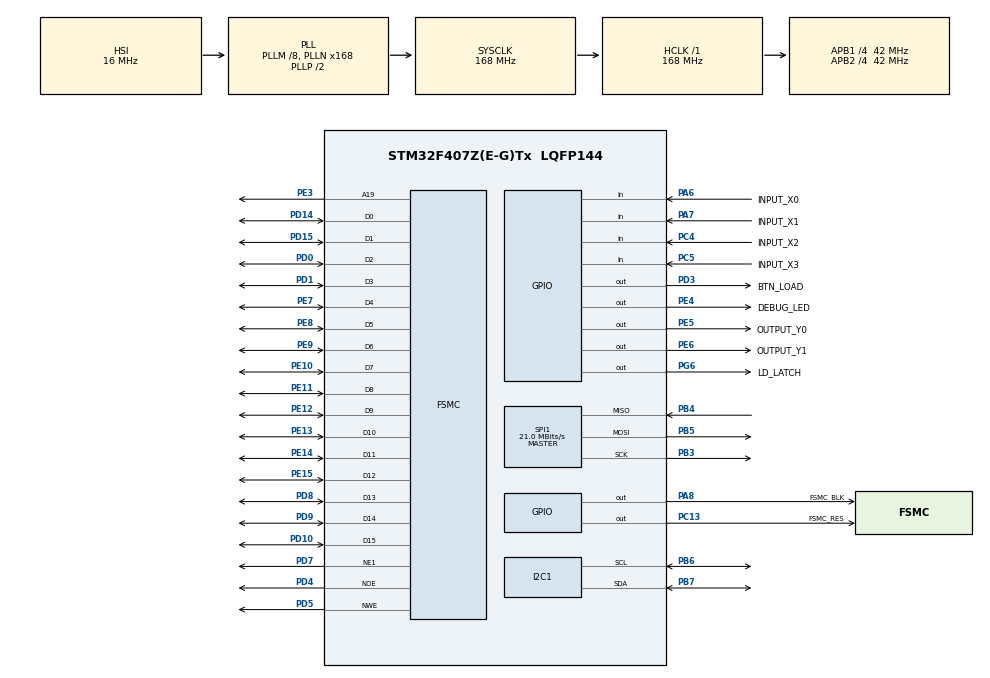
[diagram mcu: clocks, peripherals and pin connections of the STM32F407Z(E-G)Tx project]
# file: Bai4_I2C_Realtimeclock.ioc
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FSMC.AddressSetupTime1=0xf
FSMC.BusTurnAroundDuration1=0
FSMC.DataSetupTime1=60
FSMC.ExtendedAddressSetupTime1=8
FSMC.ExtendedBusTurnAroundDuration1=0
FSMC.ExtendedDataSetupTime1=9
FSMC.ExtendedMode1=FSMC_EXTENDED_MODE_ENABLE
I2C1.I2C_Mode=I2C_Standard
Mcu.Family=STM32F4
Mcu.Name=STM32F407Z(E-G)Tx
Mcu.Package=LQFP144
NVIC.PriorityGroup=NVIC_PRIORITYGROUP_4
NVIC.TIM2_IRQn=true\:0\:0\:false\:false\:true\:true\:true\:true
PA13.Mode=Serial_Wire
PA13.Signal=SYS_JTMS-SWDIO
PA14.Mode=Serial_Wire
PA14.Signal=SYS_JTCK-SWCLK
PA6.GPIO_Label=INPUT_X0
PA6.Signal=GPIO_Input
PA7.GPIO_Label=INPUT_X1
PA7.Signal=GPIO_Input
PA8.GPIO_Label=FSMC_BLK
PA8.Signal=GPIO_Output
PB3.Mode=Full_Duplex_Master
PB3.Signal=SPI1_SCK
PB4.Mode=Full_Duplex_Master
PB4.Signal=SPI1_MISO
PB5.Mode=Full_Duplex_Master
PB5.Signal=SPI1_MOSI
PB6.Mode=I2C
PB6.Signal=I2C1_SCL
PB7.Mode=I2C
PB7.Signal=I2C1_SDA
PC13-ANTI_TAMP.GPIO_Label=FSMC_RES
PC13-ANTI_TAMP.Signal=GPIO_Output
PC4.GPIO_Label=INPUT_X2
PC4.Signal=GPIO_Input
PC5.GPIO_Label=INPUT_X3
PC5.Signal=GPIO_Input
PD0.Signal=FSMC_D2_DA2
PD1.Signal=FSMC_D3_DA3
PD10.Signal=FSMC_D15_DA15
PD14.Signal=FSMC_D0_DA0
PD15.Signal=FSMC_D1_DA1
PD3.GPIO_Label=BTN_LOAD
PD3.Signal=GPIO_Output
PD4.Signal=FSMC_NOE
PD5.Signal=FSMC_NWE
PD7.Mode=NorPsramChipSelect1_1
PD7.Signal=FSMC_NE1
PD8.Signal=FSMC_D13_DA13
PD9.Signal=FSMC_D14_DA14
PE10.Signal=FSMC_D7_DA7
PE11.Signal=FSMC_D8_DA8
PE12.Signal=FSMC_D9_DA9
PE13.Signal=FSMC_D10_DA10
PE14.Signal=FSMC_D11_DA11
PE15.Signal=FSMC_D12_DA12
PE3.Signal=FSMC_A19
PE4.GPIO_Label=DEBUG_LED
PE4.Signal=GPIO_Output
PE5.GPIO_Label=OUTPUT_Y0
PE5.Signal=GPIO_Output
PE6.GPIO_Label=OUTPUT_Y1
PE6.Signal=GPIO_Output
PE7.Signal=FSMC_D4_DA4
PE8.Signal=FSMC_D5_DA5
PE9.Signal=FSMC_D6_DA6
PG6.GPIO_Label=LD_LATCH
PG6.Signal=GPIO_Output
PH0-OSC_IN.Mode=HSE-External-Oscillator
PH0-OSC_IN.Signal=RCC_OSC_IN
PH1-OSC_OUT.Mode=HSE-External-Oscillator
PH1-OSC_OUT.Signal=RCC_OSC_OUT
ProjectManager.HeapSize=0x200
ProjectManager.StackSize=0x400
ProjectManager.TargetToolchain=STM32CubeIDE
RCC.48MHZClocksFreq_Value=84000000
RCC.AHBFreq_Value=168000000
RCC.APB1CLKDivider=RCC_HCLK_DIV4
RCC.APB1Freq_Value=42000000
RCC.APB1TimFreq_Value=84000000
RCC.APB2CLKDivider=RCC_HCLK_DIV4
RCC.APB2Freq_Value=42000000
RCC.APB2TimFreq_Value=84000000
RCC.CortexFreq_Value=168000000
RCC.HCLKFreq_Value=168000000
RCC.HSE_VALUE=8000000
RCC.HSI_VALUE=16000000
RCC.LSE_VALUE=32768
RCC.PLLM=8
RCC.PLLN=168
RCC.SYSCLKFreq_VALUE=168000000
RCC.SYSCLKSource=RCC_SYSCLKSOURCE_PLLCLK
RCC.VCOOutputFreq_Value=336000000
SH.FSMC_A19.0=FSMC_A19,A19_1
SH.FSMC_D0_DA0.0=FSMC_D0,16b-d1
SH.FSMC_D10_DA10.0=FSMC_D10,16b-d1
SH.FSMC_D11_DA11.0=FSMC_D11,16b-d1
SH.FSMC_D12_DA12.0=FSMC_D12,16b-d1
SH.FSMC_D13_DA13.0=FSMC_D13,16b-d1
SH.FSMC_D14_DA14.0=FSMC_D14,16b-d1
SH.FSMC_D15_DA15.0=FSMC_D15,16b-d1
SH.FSMC_D1_DA1.0=FSMC_D1,16b-d1
SH.FSMC_D2_DA2.0=FSMC_D2,16b-d1
SH.FSMC_D3_DA3.0=FSMC_D3,16b-d1
SH.FSMC_D4_DA4.0=FSMC_D4,16b-d1
SH.FSMC_D5_DA5.0=FSMC_D5,16b-d1
SH.FSMC_D6_DA6.0=FSMC_D6,16b-d1
SH.FSMC_D7_DA7.0=FSMC_D7,16b-d1
SH.FSMC_D8_DA8.0=FSMC_D8,16b-d1
SH.FSMC_D9_DA9.0=FSMC_D9,16b-d1
SH.FSMC_NOE.0=FSMC_NOE,Lcd1
SH.FSMC_NWE.0=FSMC_NWE,Lcd1
SPI1.BaudRatePrescaler=SPI_BAUDRATEPRESCALER_2
SPI1.CalculateBaudRate=21.0 MBits/s
SPI1.Direction=SPI_DIRECTION_2LINES
SPI1.Mode=SPI_MODE_MASTER
SPI1.VirtualType=VM_MASTER
TIM2.Period=100-1
TIM2.Prescaler=840-1
VP_TIM2_VS_ClockSourceINT.Mode=Internal
board=custom

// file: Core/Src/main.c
/* USER CODE BEGIN Header */
/**
  ******************************************************************************
  * @file           : main.c
  * @brief          : Main program body
  ******************************************************************************
  * @attention
  *
  * <h2><center>&copy; Copyright (c) 2023 STMicroelectronics.
  * All rights reserved.</center></h2>
  *
  * This software component is licensed by ST under BSD 3-Clause license,
  * the "License"; You may not use this file except in compliance with the
  * License. You may obtain a copy of the License at:
  *                        opensource.org/licenses/BSD-3-Clause
  *
  ******************************************************************************
  */
/* USER CODE END Header */
#include "main.h"
#include "i2c.h"
#include "spi.h"
#include "tim.h"
#include "gpio.h"
#include "fsmc.h"

/* USER CODE BEGIN Includes */
#include "software_timer.h"
#include "led_7seg.h"
#include "button.h"
#include "lcd.h"
#include "picture.h"
#include "ds3231.h"
/* USER CODE END Includes */

/* USER CODE BEGIN PV */
uint8_t count_led_debug = 0;
/* USER CODE END PV */

void SystemClock_Config(void);
/* USER CODE BEGIN PFP */
void system_init();
void test_LedDebug();
void displayTime();
void updateTime();
/* USER CODE END PFP */

/* USER CODE BEGIN 0 */
uint8_t ds3231_state = 0;
uint8_t ds3231_state_increase_number = 0;
uint8_t blink = 0;
uint32_t ds3231_increase_number = 0;

uint8_t ds3231_state_increase_number2 = 0;

uint8_t blink2 = 0;
uint8_t timersec = 0;
uint8_t timerhour = 0;
uint8_t timerminute = 0;
/* USER CODE END 0 */

int main(void)
{

  /* MCU Configuration--------------------------------------------------------*/

  /* Reset of all peripherals, Initializes the Flash interface and the Systick. */
  HAL_Init();

  /* Configure the system clock */
  SystemClock_Config();

  /* Initialize all configured peripherals */
  MX_GPIO_Init();
  MX_TIM2_Init();
  MX_SPI1_Init();
  MX_FSMC_Init();
  MX_I2C1_Init();
  /* USER CODE BEGIN 2 */
  system_init();
  /* USER CODE END 2 */

  /* Infinite loop */
  /* USER CODE BEGIN WHILE */
 lcd_Clear(BLACK);
 updateTime();
  while (1)
  {
	  while(!flag_timer2);
	  flag_timer2 = 0;
	  button_Scan();
	  if (button_count[0] == 1) {
		  lcd_Clear(BLACK);
		  ds3231_state++;
		  if (ds3231_state >= 3) {
			  ds3231_state = 0;
		  }
	  }
	  if (button_count[12] == 1) {
		  ds3231_state_increase_number++;
		  if (ds3231_state_increase_number >= 7) {
			  ds3231_state_increase_number = 0;
		  }
	  }
	  if (ds3231_state == 0) {

		  ds3231_ReadTime();
		  displayTime();
		  //lcd_ShowStr(20, 0, "ALRM!!!!!!!", WHITE, RED, 24, 0);
		  if (ds3231_sec==timersec && ds3231_min == timerminute && ds3231_hours == timerhour) lcd_ShowStr(20, 0, "ALRM!!!!!!!", WHITE, RED, 24, 0);
	  } else if (ds3231_state == 1) {
		  if (button_count[3] == 1) {

			  ds3231_buffer[ds3231_state_increase_number]++;
			  //ds3231_Write(ds3231_state_increase_number, ds3231_buffer[ds3231_state_increase_number]);

			  /*switch (ds3231_state_increase_number){
				case 0:
					ds3231_Write(ADDRESS_SEC, ds3231_buffer[ds3231_state_increase_number]);
				break;
				case 1:
					ds3231_Write(ADDRESS_MIN, ds3231_buffer[ds3231_state_increase_number]);
				break;
				case 2:
					ds3231_Write(ADDRESS_HOUR, ds3231_buffer[ds3231_state_increase_number]);
				break;
				case 3:
					ds3231_Write(ADDRESS_DAY, ds3231_buffer[ds3231_state_increase_number]);
				  break;
				case 4:
					ds3231_Write(ADDRESS_DATE, ds3231_buffer[ds3231_state_increase_number]);
				break;
				case 5:
					ds3231_Write(ADDRESS_MONTH, ds3231_buffer[ds3231_state_increase_number]);
				break;
				case 6:
					ds3231_Write(ADDRESS_YEAR, ds3231_buffer[ds3231_state_increase_number]);
				break;
				default:
					break;
			  }*/

			  	  ds3231_Write(ADDRESS_SEC, BCD2DEC(ds3231_buffer[0]));
			  	ds3231_Write(ADDRESS_MIN, BCD2DEC(ds3231_buffer[1]));
			  	ds3231_Write(ADDRESS_HOUR, BCD2DEC(ds3231_buffer[2]));
			  	ds3231_Write(ADDRESS_DAY, BCD2DEC(ds3231_buffer[3]));
			  	ds3231_Write(ADDRESS_DATE, BCD2DEC(ds3231_buffer[4]));
			  	ds3231_Write(ADDRESS_MONTH, BCD2DEC(ds3231_buffer[5]));
			  	ds3231_Write(ADDRESS_YEAR, BCD2DEC(ds3231_buffer[6]));
		  }
			ds3231_sec = BCD2DEC(ds3231_buffer[0]);
			ds3231_min = BCD2DEC(ds3231_buffer[1]);
			ds3231_hours = BCD2DEC(ds3231_buffer[2]);
			ds3231_day = BCD2DEC(ds3231_buffer[3]);
			ds3231_date = BCD2DEC(ds3231_buffer[4]);
			ds3231_month = BCD2DEC(ds3231_buffer[5]);
			ds3231_year = BCD2DEC(ds3231_buffer[6]);
		  displayTime1();
		  lcd_ShowIntNum(30, 30, ds3231_state, 1, RED, BLACK, 24);
	  } else if (ds3231_state == 2) {

		  if (button_count[12] == 1) {
			  ds3231_state_increase_number2++;
		  		  if (ds3231_state_increase_number2 >= 3) {
		  			ds3231_state_increase_number2 = 0;
		  		  }
		  	  }

		  if (button_count[3] == 1) {
			  if (ds3231_state_increase_number2==0){
				  timersec = (timersec+1)%60;
			  }
			  else if (ds3231_state_increase_number2==1){
			  				  timerminute = (timerminute+1)%60;
			  			  }
			  else if (ds3231_state_increase_number2==2){
			  				  timerhour = (timerhour+1)%60;
			  			  }
		  }

		  displayTime2();
		  lcd_ShowIntNum(30, 30, ds3231_state, 1, RED, BLACK, 24);//lcd_ShowIntNum(150, 100, ds3231_sec, 2, GREEN, BLACK, 24);

	  }
    /* USER CODE END WHILE */

  }
}

void SystemClock_Config(void)
{
  RCC_OscInitTypeDef RCC_OscInitStruct = {0};
  RCC_ClkInitTypeDef RCC_ClkInitStruct = {0};

  /** Configure the main internal regulator output voltage
  */
  __HAL_RCC_PWR_CLK_ENABLE();
  __HAL_PWR_VOLTAGESCALING_CONFIG(PWR_REGULATOR_VOLTAGE_SCALE1);

  /** Initializes the RCC Oscillators according to the specified parameters
  * in the RCC_OscInitTypeDef structure.
  */
  RCC_OscInitStruct.OscillatorType = RCC_OSCILLATORTYPE_HSI;
  RCC_OscInitStruct.HSIState = RCC_HSI_ON;
  RCC_OscInitStruct.HSICalibrationValue = RCC_HSICALIBRATION_DEFAULT;
  RCC_OscInitStruct.PLL.PLLState = RCC_PLL_ON;
  RCC_OscInitStruct.PLL.PLLSource = RCC_PLLSOURCE_HSI;
  RCC_OscInitStruct.PLL.PLLM = 8;
  RCC_OscInitStruct.PLL.PLLN = 168;
  RCC_OscInitStruct.PLL.PLLP = RCC_PLLP_DIV2;
  RCC_OscInitStruct.PLL.PLLQ = 4;
  if (HAL_RCC_OscConfig(&RCC_OscInitStruct) != HAL_OK)
  {
    Error_Handler();
  }

  /** Initializes the CPU, AHB and APB buses clocks
  */
  RCC_ClkInitStruct.ClockType = RCC_CLOCKTYPE_HCLK|RCC_CLOCKTYPE_SYSCLK
                              |RCC_CLOCKTYPE_PCLK1|RCC_CLOCKTYPE_PCLK2;
  RCC_ClkInitStruct.SYSCLKSource = RCC_SYSCLKSOURCE_PLLCLK;
  RCC_ClkInitStruct.AHBCLKDivider = RCC_SYSCLK_DIV1;
  RCC_ClkInitStruct.APB1CLKDivider = RCC_HCLK_DIV4;
  RCC_ClkInitStruct.APB2CLKDivider = RCC_HCLK_DIV4;

  if (HAL_RCC_ClockConfig(&RCC_ClkInitStruct, FLASH_LATENCY_5) != HAL_OK)
  {
    Error_Handler();
  }
}

/* USER CODE BEGIN 4 */
void system_init(){
	  HAL_GPIO_WritePin(OUTPUT_Y0_GPIO_Port, OUTPUT_Y0_Pin, 0);
	  HAL_GPIO_WritePin(OUTPUT_Y1_GPIO_Port, OUTPUT_Y1_Pin, 0);
	  HAL_GPIO_WritePin(DEBUG_LED_GPIO_Port, DEBUG_LED_Pin, 0);
	  timer_init();
	  led7_init();
	  button_init();
	  lcd_init();
	  ds3231_init();
	  setTimer2(50);
	  setTimer3(250);
}

void test_LedDebug(){
	count_led_debug = (count_led_debug + 1)%20;
	if(count_led_debug == 0){
		HAL_GPIO_TogglePin(DEBUG_LED_GPIO_Port, DEBUG_LED_Pin);
	}
}

void test_7seg(){
	led7_SetDigit(0, 0, 0);
	led7_SetDigit(5, 1, 0);
	led7_SetDigit(4, 2, 0);
	led7_SetDigit(7, 3, 0);
}
void test_button(){
	for(int i = 0; i < 16; i++){
		if(button_count[i] == 1){
			led7_SetDigit(i/10, 2, 0);
			led7_SetDigit(i%10, 3, 0);
		}
	}
}
//int year = 25; int month = 11, int date = 5, int hour = 9, int min = 10, int sec = 11
void updateTime(){

	ds3231_buffer[0] = 25;
	ds3231_buffer[1] = 11;
	ds3231_buffer[2] = 5;
	ds3231_buffer[3] = 4;
	ds3231_buffer[4] = 9;
	ds3231_buffer[5] = 10;
	ds3231_buffer[6] = 11;

	ds3231_Write(ADDRESS_YEAR, 25);
	ds3231_Write(ADDRESS_MONTH, 11);
	ds3231_Write(ADDRESS_DATE, 05);
	ds3231_Write(ADDRESS_DAY, 4);
	ds3231_Write(ADDRESS_HOUR, 9);
	ds3231_Write(ADDRESS_MIN, 10);
	ds3231_Write(ADDRESS_SEC, 11);
}

uint8_t isButtonUp()
{
    if (button_count[3] == 1)
        return 1;
    else
        return 0;
}
uint8_t isButtonDown()
{
    if (button_count[7] == 1)
        return 1;
    else
        return 0;
}
void displayTime(){
	lcd_ShowIntNum(70, 100, ds3231_hours, 2, GREEN, BLACK, 24);
	lcd_ShowIntNum(110, 100, ds3231_min, 2, GREEN, BLACK, 24);
	lcd_ShowIntNum(150, 100, ds3231_sec, 2, GREEN, BLACK, 24);
	lcd_ShowIntNum(20, 130, ds3231_day, 2, YELLOW, BLACK, 24);
	lcd_ShowIntNum(70, 130, ds3231_date, 2, YELLOW, BLACK, 24);
	lcd_ShowIntNum(110, 130, ds3231_month, 2, YELLOW, BLACK, 24);
	lcd_ShowIntNum(150, 130, ds3231_year, 2, YELLOW, BLACK, 24);
	lcd_ShowIntNum(30, 30, ds3231_state, 1, RED, BLACK, 24);
}

void displayTime1(){
	if(flag_timer3) {
		flag_timer3 = 0;
		if (ds3231_state_increase_number == 0) {
			if (blink == 0) {
				blink = 1;
				lcd_ShowIntNum(150, 100, ds3231_sec, 2, GREEN, BLACK, 24);
			} else {
				blink = 0;
				lcd_ShowIntNum(150, 100, ds3231_sec, 2, BLACK, BLACK, 24);
			}
		} else {
			lcd_ShowIntNum(150, 100, ds3231_sec, 2, GREEN, BLACK, 24);
		}
		if (ds3231_state_increase_number == 1) {
			if (blink == 0) {
				blink = 1;
				lcd_ShowIntNum(110, 100, ds3231_min, 2, GREEN, BLACK, 24);
			} else {
				blink = 0;
				lcd_ShowIntNum(110, 100, ds3231_min, 2, BLACK, BLACK, 24);
			}
		} else {
			lcd_ShowIntNum(110, 100, ds3231_min, 2, GREEN, BLACK, 24);
		}
		if (ds3231_state_increase_number == 2) {
			if (blink == 0) {
				blink = 1;
				lcd_ShowIntNum(70, 100, ds3231_hours, 2, GREEN, BLACK, 24);
			} else {
				blink = 0;
				lcd_ShowIntNum(70, 100, ds3231_hours, 2, BLACK, BLACK, 24);
			}
		} else {
			lcd_ShowIntNum(70, 100, ds3231_hours, 2, GREEN, BLACK, 24);
		}
		if (ds3231_state_increase_number == 3) {
			if (blink == 0) {
				blink = 1;
				lcd_ShowIntNum(20, 130, ds3231_day, 2, YELLOW, BLACK, 24);
			} else {
				blink = 0;
				lcd_ShowIntNum(20, 130, ds3231_day, 2, BLACK, BLACK, 24);
			}
		} else {
			lcd_ShowIntNum(20, 130, ds3231_day, 2, YELLOW, BLACK, 24);
		}
		if (ds3231_state_increase_number == 4) {
			if (blink == 0) {
				blink = 1;
				lcd_ShowIntNum(70, 130, ds3231_date, 2, YELLOW, BLACK, 24);
			} else {
				blink = 0;
				lcd_ShowIntNum(70, 130, ds3231_date, 2, BLACK, BLACK, 24);
			}
		} else {
			lcd_ShowIntNum(70, 130, ds3231_date, 2, YELLOW, BLACK, 24);
		}
		if (ds3231_state_increase_number == 5) {
			if (blink == 0) {
				blink = 1;
				lcd_ShowIntNum(110, 130, ds3231_month, 2, YELLOW, BLACK, 24);
			} else {
				blink = 0;
				lcd_ShowIntNum(110, 130, ds3231_month, 2, BLACK, BLACK, 24);
			}
		} else {
			lcd_ShowIntNum(110, 130, ds3231_month, 2, YELLOW, BLACK, 24);
		}
		if (ds3231_state_increase_number == 6) {
			if (blink == 0) {
				blink = 1;
				lcd_ShowIntNum(150, 130, ds3231_year, 2, YELLOW, BLACK, 24);
			} else {
				blink = 0;
				lcd_ShowIntNum(150, 130, ds3231_year, 2, BLACK, BLACK, 24);
			}
		} else {
			lcd_ShowIntNum(150, 130, ds3231_year, 2, YELLOW, BLACK, 24);
		}
	}
}

void displayTime2(){
	if (flag_timer3) {
	    flag_timer3 = 0;

	    lcd_ShowIntNum(70, 100, ds3231_hours, 2, GREEN, BLACK, 24);
	    	lcd_ShowIntNum(110, 100, ds3231_min, 2, GREEN, BLACK, 24);
	    	lcd_ShowIntNum(150, 100, ds3231_sec, 2, GREEN, BLACK, 24);
	    	lcd_ShowIntNum(20, 130, ds3231_day, 2, YELLOW, BLACK, 24);
	    	lcd_ShowIntNum(70, 130, ds3231_date, 2, YELLOW, BLACK, 24);
	    	lcd_ShowIntNum(110, 130, ds3231_month, 2, YELLOW, BLACK, 24);
	    	lcd_ShowIntNum(150, 130, ds3231_year, 2, YELLOW, BLACK, 24);

	    	switch (ds3231_state_increase_number2) {
	    	        case 0: // Blink seconds
	    	            if (blink2 == 0) {
	    	            	blink2 = 1;
	    	                lcd_ShowIntNum(150, 160, timersec, 2, YELLOW, BLACK, 24);
	    	            } else {
	    	            	blink2 = 0;
	    	                lcd_ShowIntNum(150, 160, timersec, 2, BLACK, BLACK, 24);
	    	            }
	    	            // Show others normally
	    	            lcd_ShowIntNum(70, 160, timerhour, 2, YELLOW, BLACK, 24);
	    	            lcd_ShowIntNum(110, 160, timerminute, 2, YELLOW, BLACK, 24);
	    	            break;

	    	        case 1: // Blink minutes
	    	            if (blink2 == 0) {
	    	            	blink2 = 1;
	    	                lcd_ShowIntNum(110, 160, timerminute, 2, YELLOW, BLACK, 24);
	    	            } else {
	    	            	blink2 = 0;
	    	                lcd_ShowIntNum(110, 160, timerminute, 2, BLACK, BLACK, 24);
	    	            }
	    	            lcd_ShowIntNum(70, 160, timerhour, 2, YELLOW, BLACK, 24);
	    	            lcd_ShowIntNum(150, 160, timersec, 2, YELLOW, BLACK, 24);
	    	            break;

	    	        case 2: // Blink hours
	    	            if (blink2 == 0) {
	    	            	blink2 = 1;
	    	                lcd_ShowIntNum(70, 160, timerhour, 2, YELLOW, BLACK, 24);
	    	            } else {
	    	            	blink2 = 0;
	    	                lcd_ShowIntNum(70, 160, timerhour, 2, BLACK, BLACK, 24);
	    	            }
	    	            lcd_ShowIntNum(110, 160, timerminute, 2, YELLOW, BLACK, 24);
	    	            lcd_ShowIntNum(150, 160, timersec, 2, YELLOW, BLACK, 24);
	    	            break;

	    	        default: // No blinking (show all normally)
	    	            lcd_ShowIntNum(70, 160, timerhour, 2, YELLOW, BLACK, 24);
	    	            lcd_ShowIntNum(110, 160, timerminute, 2, YELLOW, BLACK, 24);
	    	            lcd_ShowIntNum(150, 160, timersec, 2, YELLOW, BLACK, 24);
	    	            break;
	    	    }
	}

}
/* USER CODE END 4 */

void Error_Handler(void)
{
  __disable_irq();
  while (1)
  {
  }
}
